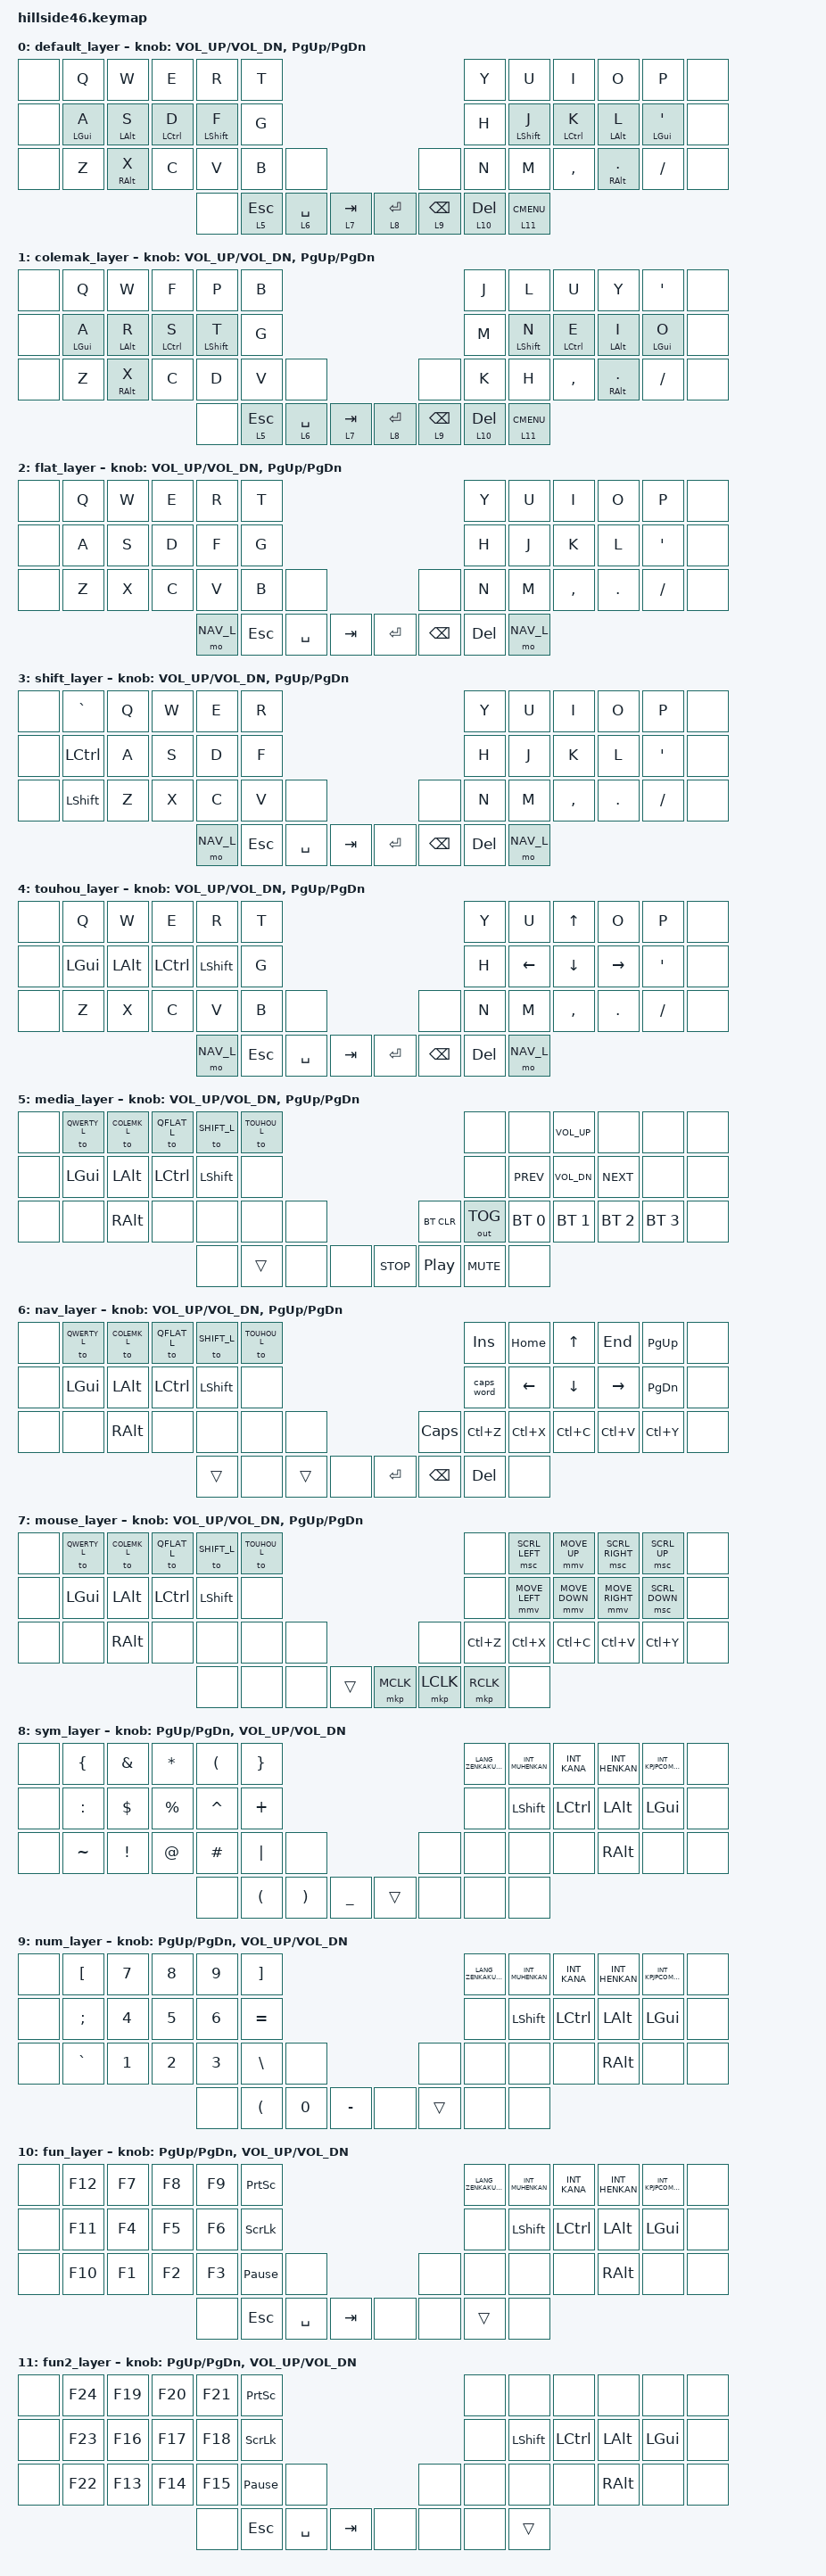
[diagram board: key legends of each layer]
/*
 * Copyright (c) 2021-2022 The ZMK Contributors
 *
 * SPDX-License-Identifier: MIT
 */

#include <behaviors.dtsi>
#include <dt-bindings/zmk/bt.h>
#include <dt-bindings/zmk/ext_power.h>
#include <dt-bindings/zmk/keys.h>
#include <dt-bindings/zmk/outputs.h>
#include <dt-bindings/zmk/pointing.h>

#define QWERTY_L   0
#define COLEMK_L   1
#define QFLAT_L    2
#define SHIFT_L    3
#define TOUHOU_L   4
#define MEDIA_L    5
#define NAV_L      6
#define MOUSE_L    7
#define SYM_L      8
#define NUM_L      9
#define FUN_L      10
#define FUN2_L     11


&mt {
    flavor = "tap-preferred";
};

/ {
        keymap {
                compatible = "zmk,keymap";

                default_layer {
/* QWERTY
 * --------------------------------------------------------------------------------------------------------------------------------------
 * |       |   Q   |   W   |   E   |   R   |   T   |------------------------------------ |   Y   |   U   |   I   |   O   |   P   |       |
 * |       |   A   |   S   |   D   |   F   |   G   |-------------------------------------|   H   |   J   |   K   |   L   |   '   |       |
 * |       |   Z   |   X   |   C   |   V   |   B   |  XXX  |---------------------|  XXX  |   N   |   M   |   ,   |   .   |   /   |       |
 *                                 |  XXX  |  ESC  |  SPC  | TAB   |-----|  RET  |  BSPC |  DEL  | CMENU |
 */
                        bindings = <
&none    &kp  Q        &kp  W        &kp  E        &kp  R        &kp  T                                                                         &kp  Y        &kp  U        &kp  I        &kp  O        &kp  P        &none
&none    &mt LGUI A    &mt LALT S    &mt LCTRL D   &mt LSHFT F   &kp  G                                                                         &kp  H        &mt LSHFT J   &mt LCTRL K   &mt LALT L    &mt LGUI SQT  &none
&none    &kp  Z        &mt RALT X    &kp  C        &kp  V        &kp  B        &none                                              &none         &kp  N        &kp  M        &kp  COMMA    &mt RALT DOT  &kp  SLASH    &none
                                                   &none         &lt 5 ESC     &lt 6 SPACE   &lt 7 TAB              &lt 8 RET     &lt 9 BSPC    &lt 10 DEL    &lt 11 K_CMENU
                        >;

                        sensor-bindings = <&inc_dec_kp C_VOL_UP C_VOL_DN &inc_dec_kp PG_UP PG_DN>;
                };

                colemak_layer {
/* COLEMAK-DH
 * ---------------------------------------------------------------------------------------------------------------------------------------
 * |       |   Q   |   W   |   F   |   P   |   B   |--------------------------------------|   J   |   L   |   U   |   Y   |   '   |       |
 * |       |   A   |   R   |   S   |   T   |   G   |--------------------------------------|   M   |   N   |   E   |   I   |   O   |       |
 * |       |   Z   |   X   |   C   |   D   |   V   |  XXX  |----------------------|  XXX  |   K   |   H   |   ,   |   .   |   /   |       |
 *                                 |  XXX  |  ESC  |  SPC  | TAB   |------|  RET  |  BSPC |  DEL  |  XXX  |
 */
                        bindings = <
&none    &kp  Q        &kp  W        &kp  F        &kp  P        &kp  B                                                                         &kp  J        &kp  L        &kp  U        &kp  Y        &kp  SQT      &none
&none    &mt LGUI A    &mt LALT R    &mt LCTRL S   &mt LSHFT T   &kp  G                                                                         &kp  M        &mt LSHFT N   &mt LCTRL E   &mt LALT I    &mt LGUI O    &none
&none    &kp  Z        &mt RALT X    &kp  C        &kp  D        &kp  V        &none                                              &none         &kp  K        &kp  H        &kp  COMMA    &mt RALT DOT  &kp  SLASH    &none
                                                   &none         &lt 5 ESC     &lt 6 SPACE   &lt 7 TAB              &lt 8 RET     &lt 9 BSPC    &lt 10 DEL    &lt 11 K_CMENU
                        >;

                        sensor-bindings = <&inc_dec_kp C_VOL_UP C_VOL_DN &inc_dec_kp PG_UP PG_DN>;
                };

                flat_layer {
/* FLAT QWERTY
 * --------------------------------------------------------------------------------------------------------------------------------------
 * |       |   Q   |   W   |   E   |   R   |   T   |------------------------------------ |   Y   |   U   |   I   |   O   |   P   |       |
 * |       |   A   |   S   |   D   |   F   |   G   |-------------------------------------|   H   |   J   |   K   |   L   |   '   |       |
 * |       |   Z   |   X   |   C   |   V   |   B   |  XXX  |---------------------|  XXX  |   N   |   M   |   ,   |   .   |   /   |       |
 *                                 |  XXX  |  ESC  |  SPC  | TAB   |-----|  RET  |  BSPC |  DEL  | CMENU |
 */
                        bindings = <
&none    &kp Q    &kp W    &kp E    &kp  R    &kp  T                                                                          &kp  Y    &kp U     &kp I    &kp O    &kp P    &none
&none    &kp A    &kp S    &kp D    &kp  F    &kp  G                                                                          &kp  H    &kp J     &kp K    &kp L    &kp SQT &none
&none    &kp Z    &kp X    &kp C    &kp  V    &kp  B      &none                                            &none    &kp  N    &kp  M    &kp COMMA &kp DOT  &kp  SLASH    &none
                                              &mo NAV_L   &kp ESC    &kp SPACE    &kp TAB         &kp RET    &kp BSPC &kp DEL   &mo NAV_L
                        >;
                        sensor-bindings = <&inc_dec_kp C_VOL_UP C_VOL_DN &inc_dec_kp PG_UP PG_DN>;
                };

                shift_layer {
/* SHIFTED QWERTY
 * --------------------------------------------------------------------------------------------------------------------------------------
 * |       |   `   |   Q   |   W   |   E   |   R   |------------------------------------ |   Y   |   U   |   I   |   O   |   P   |       |
 * |       |  CTRL |   A   |   S   |   D   |   F   |-------------------------------------|   H   |   J   |   K   |   L   |   '   |       |
 * |       | SHIFT |   Z   |   X   |   C   |   V   |  XXX  |---------------------|  XXX  |   N   |   M   |   ,   |   .   |   /   |       |
 *                                 |  XXX  |  ESC  |  SPC  | TAB   |-----|  RET  |  BSPC |  DEL  | CMENU |
 */
                        bindings = <
&none    &kp GRAVE &kp Q    &kp W    &kp E    &kp  R                                                                          &kp  Y    &kp U     &kp I    &kp O    &kp P    &none
&none    &kp LCTRL &kp A    &kp S    &kp D    &kp  F                                                                          &kp  H    &kp J     &kp K    &kp L    &kp SQT  &none
&none    &kp LSHFT &kp Z    &kp X    &kp C    &kp  V       &none                                             &none    &kp  N  &kp  M    &kp COMMA &kp DOT  &kp  SLASH    &none
                                              &mo NAV_L    &kp ESC    &kp SPACE    &kp TAB        &kp RET    &kp BSPC &kp DEL &mo NAV_L
                        >;
                        sensor-bindings = <&inc_dec_kp C_VOL_UP C_VOL_DN &inc_dec_kp PG_UP PG_DN>;
                };

                touhou_layer {
/* FLAT QWERTY
 * --------------------------------------------------------------------------------------------------------------------------------------
 * |       |   Q   |   W   |   E   |   R   |   T   |------------------------------------ |   Y   |   U   |   I   |   O   |   P   |       |
 * |       |   A   |   S   |   D   |   F   |   G   |-------------------------------------|   H   |   J   |   K   |   L   |   '   |       |
 * |       |   Z   |   X   |   C   |   V   |   B   |  XXX  |---------------------|  XXX  |   N   |   M   |   ,   |   .   |   /   |       |
 *                                 |  XXX  |  ESC  |  SPC  | TAB   |-----|  RET  |  BSPC |  DEL  | CMENU |
 */
                        bindings = <
&none    &kp Q     &kp W     &kp E     &kp  R      &kp  T                                                                          &kp  Y    &kp U     &kp UP   &kp O    &kp P    &none
&none    &kp LGUI  &kp LALT  &kp LCTRL &kp LSHFT   &kp  G                                                                          &kp  H    &kp LEFT &kp DOWN &kp RIGHT &kp SQT &none
&none    &kp Z     &kp X     &kp C     &kp  V      &kp  B      &none                                            &none    &kp  N    &kp  M    &kp COMMA &kp DOT  &kp  SLASH    &none
                                       &mo NAV_L   &kp ESC     &kp SPACE    &kp TAB         &kp RET    &kp BSPC &kp DEL  &mo NAV_L
                        >;
                        sensor-bindings = <&inc_dec_kp C_VOL_UP C_VOL_DN &inc_dec_kp PG_UP PG_DN>;
                };

                media_layer {
/* MEDIA
 * -------------------------------------------------------------------------------------------------------------------------------------
 * |       | QWERTY| COLEMK| L_FLAT | L_SHFT| LTH |-----------------------------------|       |       | VOLU  |       |       |       |
 * |       | LGUI  | LALT  | LCTRL | LSHFT |      |-----------------------------------|       | PREV  | VOLD  | NEXT  |       |      |
 * |       |       | RALT  |       |       |      |       |-------------------| BT_CLR| BT_TG | BT 0  | BT 1  | BT 2  | BT 3  |      |
 *                                 |       |      |       |       |---|       | STOP  | PPLAY | MUTE  |
 */
                        bindings = <
&none         &to QWERTY_L &to COLEMK_L &to QFLAT_L   &to SHIFT_L &to TOUHOU_L                                                            &none        &none         &kp C_VOL_UP  &none         &none        &none
&none         &kp LGUI     &kp  LALT    &kp  LCTRL    &kp LSHFT   &none                                                                   &none        &kp C_PREV    &kp C_VOL_DN  &kp C_NEXT    &none        &none
&none         &none        &kp  RALT    &none         &none       &none         &none                                        &bt BT_CLR   &out OUT_TOG &bt BT_SEL 0  &bt BT_SEL 1  &bt BT_SEL 2  &bt BT_SEL 3 &none
                                                      &none       &trans        &none       &none                &kp C_STOP  &kp C_PP     &kp C_MUTE   &none
                        >;

                        sensor-bindings = <&inc_dec_kp C_VOL_UP C_VOL_DN &inc_dec_kp PG_UP PG_DN>;
                };

                nav_layer {
/* NAV
 * -------------------------------------------------------------------------------------------------------------------------------------
 * |       | QWERTY| COLEMK| L_FLAT | L_SHFT| LTH |-----------------------------------| INSERT| HOME  | UP    | END   | PG_UP |       |
 * |       | LGUI  | LALT  | LCTRL | LSHFT |      |-----------------------------------| CAPSW | LEFT  | DOWN  | RIGHT | PG_DN |      |
 * |       |       | RALT  |       |       |      |       |-------------------| CAPSL | Undo  | Cut   | Copy  | Paste | Redo  |      |
 *                                 |       |      |       |       |---|       | RET   | BSPC  | DEL   |
 */
                        bindings = <
&none         &to QWERTY_L &to COLEMK_L &to QFLAT_L   &to SHIFT_L &to TOUHOU_L                                                     &kp INS     &kp HOME    &kp UP    &kp END       &kp PG_UP  &none
&none         &kp LGUI     &kp  LALT    &kp  LCTRL    &kp LSHFT   &none                                                            &caps_word  &kp LEFT    &kp DOWN  &kp RIGHT     &kp PG_DN  &none
&none         &none        &kp  RALT    &none         &none       &none         &none                                    &kp CAPS  &kp LC(Z)   &kp LC(X)   &kp LC(C) &kp LC(V)     &kp LC(Y)   &none
                                                      &trans       &none        &trans       &none           &kp RET     &kp BSPC   &kp DEL   &none
                        >;

                        sensor-bindings = <&inc_dec_kp C_VOL_UP C_VOL_DN &inc_dec_kp PG_UP PG_DN>;
                };

                mouse_layer {
/* NAV
 * -------------------------------------------------------------------------------------------------------------------------------------
 * |       | QWERTY| COLEMK| L_FLAT | L_SHFT| LTH |-----------------------------------|       | WHL_L | MUP   | WHL_L | WHL_UP |      |
 * |       | LGUI  | LALT  | LCTRL | LSHFT |      |-----------------------------------|       | MLEFT | MDOWN | MRIGHT| WHL_DN |      |
 * |       |       | RALT  |       |       |      |       |-------------------|       | Undo  | Cut   | Copy  | Paste | Redo   |      |
 *                                 |       |      |       |       |---|       | MCLK  | LCLK  | RCLK  |
 */
                        bindings = <
&none         &to QWERTY_L &to COLEMK_L &to QFLAT_L   &to SHIFT_L &to TOUHOU_L                                                            &none       &msc SCRL_LEFT &mmv MOVE_UP   &msc SCRL_RIGHT    &msc SCRL_UP    &none
&none         &kp LGUI     &kp  LALT    &kp  LCTRL    &kp LSHFT   &none                                                                   &none       &mmv MOVE_LEFT &mmv MOVE_DOWN &mmv MOVE_RIGHT    &msc SCRL_DOWN  &none
&none         &none        &kp  RALT    &none         &none       &none         &none                                      &none          &kp LC(Z)   &kp LC(X)      &kp LC(C)      &kp LC(V)          &kp LC(Y)       &none
                                                      &none       &none         &none       &trans          &mkp MCLK      &mkp LCLK      &mkp RCLK   &none
                        >;

                        sensor-bindings = <&inc_dec_kp C_VOL_UP C_VOL_DN &inc_dec_kp PG_UP PG_DN>;
                };

                sym_layer {
/* SYM
 * -------------------------------------------------------------------------------------------------------------------------------------
 * |      |   {   |   &   |   *   |   (   |   }   |-----------------------------------|       |       |       |       |       |       |
 * |      |   :   |   $   |   %   |   ^   |   +   |-----------------------------------|       | Shift | Ctrl  | Alt   | Gui   |       |
 * |      |   ~   |   !   |   @   |   #   |   |   |       |-------------------|       |       |       |       |       |       |       |
 *                                |   (   |   )   |   _   |        |---|      |       |       |       |
 */
                        bindings = <
&none     &kp LBRC     &kp AMPS    &kp STAR     &kp LPAR     &kp RBRC                                                                &kp LANG_ZENKAKUHANKAKU &kp INT_MUHENKAN  &kp INT_KANA  &kp INT_HENKAN &kp INT_KPJPCOMMA  &none
&none     &kp COLON    &kp DLLR    &kp PRCNT    &kp CARET    &kp PLUS                                                                &none                &kp LSHFT      &kp LCTRL  &kp LALT    &kp LGUI        &none
&none     &kp TILDE    &kp EXCL    &kp AT       &kp HASH     &kp PIPE     &none                                          &none       &none                &none          &none      &kp RALT    &none           &none
                                                &none      &kp LPAR     &kp RPAR       &kp UNDER             &trans      &none       &none                &none
                        >;

                        sensor-bindings = <&inc_dec_kp PG_UP PG_DN &inc_dec_kp C_VOL_UP C_VOL_DN>;
                };

                num_layer {
/* NUM
 * -------------------------------------------------------------------------------------------------------------------------------------
 * |      |   [   |   7   |   8   |   9   |   ]   |-----------------------------------|       |       |       |       |       |       |
 * |      |   ;   |   4   |   5   |   6   |   =   |-----------------------------------|       | Shift | Ctrl  | Alt   | Gui   |       |
 * |      |   `   |   1   |   2   |   3   |   \   |       |-------------------|       |       |       |       |       |       |       |
 *                                |   .   |   0   |   -   |        |---|      |       |       |       |
 */
                        bindings = <
&none     &kp LBKT     &kp N7      &kp N8       &kp N9     &kp RBKT                                                                &kp LANG_ZENKAKUHANKAKU &kp INT_MUHENKAN  &kp INT_KANA  &kp INT_HENKAN &kp INT_KPJPCOMMA  &none
&none     &kp SEMI     &kp N4      &kp N5       &kp N6     &kp EQUAL                                                               &none                &kp LSHFT      &kp LCTRL  &kp LALT    &kp LGUI        &none
&none     &kp GRAVE    &kp N1      &kp N2       &kp N3     &kp BSLH     &none                                          &none       &none                &none          &none      &kp RALT    &none           &none
                                                &none      &kp LPAR     &kp N0         &kp MINUS           &none       &trans      &none        &none
                        >;

                        sensor-bindings = <&inc_dec_kp PG_UP PG_DN &inc_dec_kp C_VOL_UP C_VOL_DN>;
                };

                fun_layer {
/* FUN
 * -------------------------------------------------------------------------------------------------------------------------------------
 * |      |  F12  |  F7   |  F8   |  F9   | PRCNT |-----------------------------------|       |       |       |       |       |       |
 * |      |  F11  |  F4   |  F5   |  F6   | SCRLL |-----------------------------------|       | Shift | Ctrl  | Alt   | Gui   |       |
 * |      |  F10  |  F1   |  F2   |  F3   | PAUSE |       |-------------------|       |       |       |       |       |       |       |
 *                                |   .   |   0   |   -   |        |---|      |       |       |       |
 */
                        bindings = <
&none     &kp F12    &kp F7      &kp F8       &kp F9     &kp PSCRN                                                              &kp LANG_ZENKAKUHANKAKU &kp INT_MUHENKAN  &kp INT_KANA  &kp INT_HENKAN &kp INT_KPJPCOMMA  &none
&none     &kp F11    &kp F4      &kp F5       &kp F6     &kp SLCK                                                               &none                &kp LSHFT      &kp LCTRL  &kp LALT    &kp LGUI        &none
&none     &kp F10    &kp F1      &kp F2       &kp F3     &kp PAUSE_BREAK &none                                      &none       &none                &none          &none      &kp RALT    &none           &none
                                              &none      &kp ESC         &kp SPACE      &kp TAB         &none       &none       &trans     &none
                        >;
                        sensor-bindings = <&inc_dec_kp PG_UP PG_DN &inc_dec_kp C_VOL_UP C_VOL_DN>;
                };

                fun2_layer {
/* FUN
 * -------------------------------------------------------------------------------------------------------------------------------------
 * |      |  F24  |  F19  |  F20  |  F21  | PRCNT |-----------------------------------|       |       |       |       |       |       |
 * |      |  F23  |  F16  |  F17  |  F18  | SCRLL |-----------------------------------|       | Shift | Ctrl  | Alt   | Gui   |       |
 * |      |  F22  |  F13  |  F14  |  F15  | PAUSE |       |-------------------|       |       |       |       |       |       |       |
 *                                |   .   |   0   |   -   |        |---|      |       |       |       |
 */
                        bindings = <
&none     &kp F24    &kp F19     &kp F20      &kp F21    &kp PSCRN                                                              &none      &none      &none      &none      &none      &none
&none     &kp F23    &kp F16     &kp F17      &kp F18    &kp SLCK                                                               &none      &kp LSHFT  &kp LCTRL  &kp LALT   &kp LGUI   &none
&none     &kp F22    &kp F13     &kp F14      &kp F15    &kp PAUSE_BREAK &none                                      &none       &none      &none      &none      &kp RALT   &none      &none
                                              &none      &kp ESC         &kp SPACE      &kp TAB         &none       &none       &none      &trans
                        >;
                        sensor-bindings = <&inc_dec_kp PG_UP PG_DN &inc_dec_kp C_VOL_UP C_VOL_DN>;
                };
        };
};
